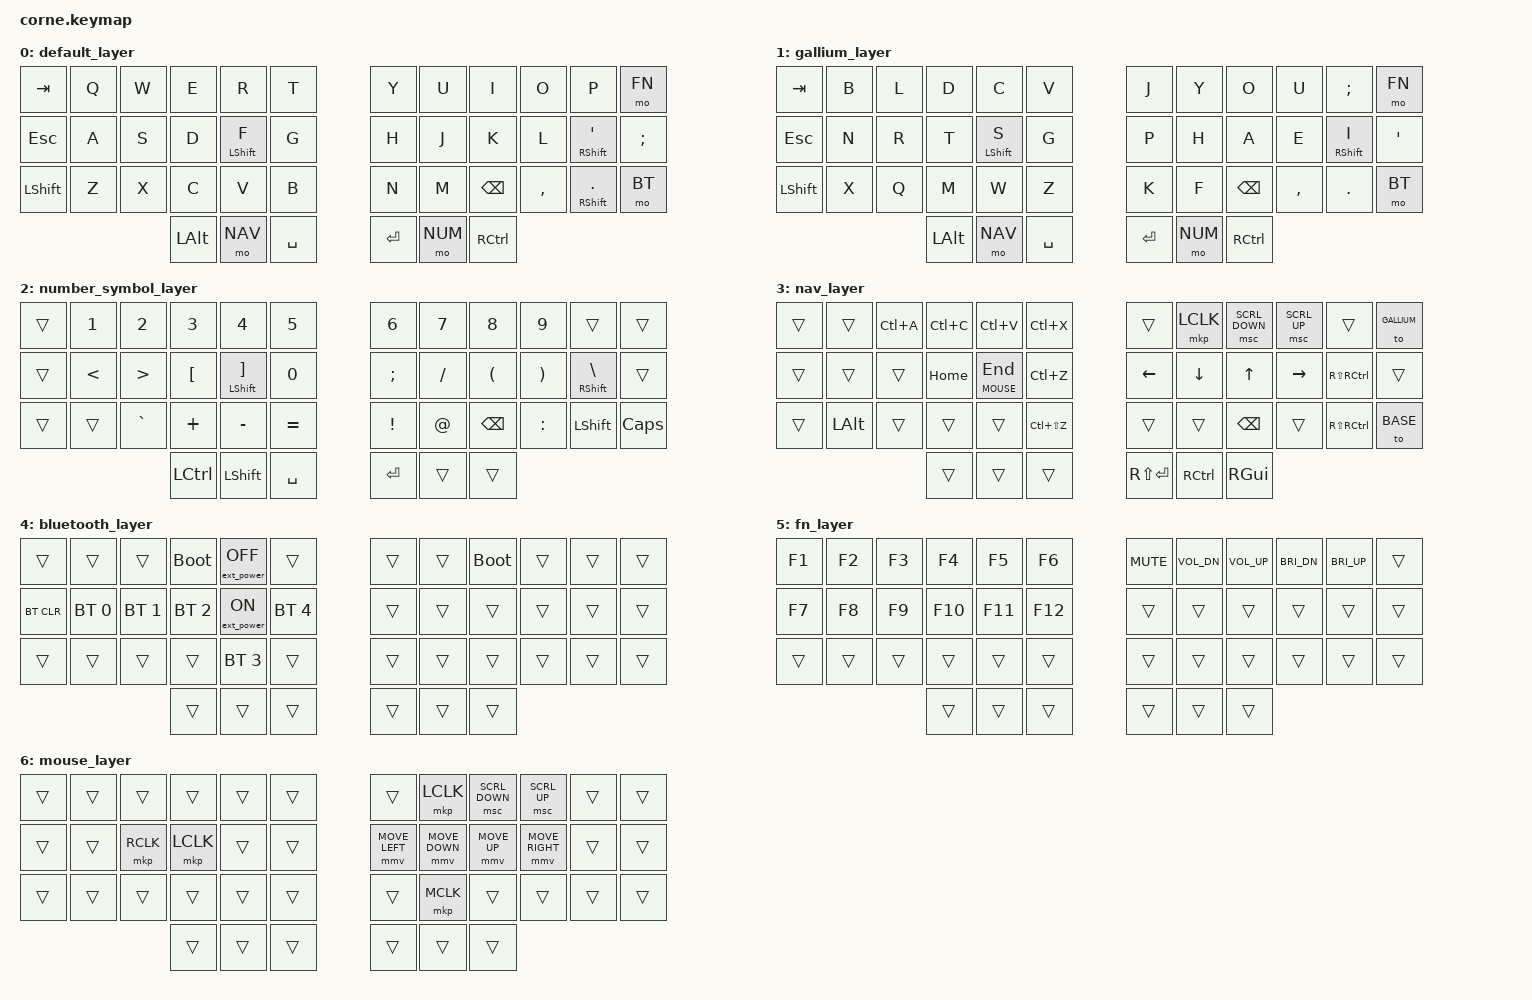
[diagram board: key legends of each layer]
/*
 * Copyright (c) 2020 The ZMK Contributors
 *
 * SPDX-License-Identifier: MIT
 */

#include <behaviors.dtsi>
#include <dt-bindings/zmk/keys.h>
#include <dt-bindings/zmk/bt.h>
#include <dt-bindings/zmk/mouse.h>
#include <dt-bindings/zmk/ext_power.h>

#define BASE 0
#define GALLIUM 1
#define NUM 2
#define NAV 3
#define BT 4
#define FN 5
#define MOUSE 6

/ {

        behaviors {
                hmt: homerow_mod_tap {
                        compatible = "zmk,behavior-hold-tap";
                        #binding-cells = <2>;
                        flavor = "tap-preferred";
                        tapping-term-ms = <200>;
                        quick-tap-ms = <150>;
                        bindings = <&kp>, <&kp>;
                };
                mlt: mouse_layer_tap {
                        compatible = "zmk,behavior-hold-tap";
                        #binding-cells = <2>;
                        flavor = "tap-preferred";
                        tapping-term-ms = <200>;
                        quick-tap-ms = <150>;
                        bindings = <&mo>, <&kp>;
                };
        };

        keymap {
                compatible = "zmk,keymap";

                default_layer {
                        bindings = <
   &kp TAB   &kp Q &kp W &kp E &kp R        &kp T   &kp Y &kp U  &kp I    &kp O     &kp P          &mo FN
   &kp ESC   &kp A &kp S &kp D &hmt LSHFT F &kp G   &kp H &kp J  &kp K    &kp L     &hmt RSHFT SQT &kp SEMI
   &kp LSHFT &kp Z &kp X &kp C &kp V        &kp B   &kp N &kp M  &kp BSPC &kp COMMA &hmt RSHFT DOT        &mo BT
                         &kp LALT &mo NAV &kp SPACE   &kp RET &mo NUM &kp RCTRL
                        >;
                };

                gallium_layer {
                        bindings = <
   &kp TAB   &kp B &kp L &kp D &kp C        &kp V   &kp J &kp Y &kp O    &kp U     &kp SEMI       &mo FN
   &kp ESC   &kp N &kp R &kp T &hmt LSHFT S &kp G   &kp P &kp H &kp A    &kp E     &hmt RSHFT I   &kp SQT
   &kp LSHFT &kp X &kp Q &kp M &kp W        &kp Z   &kp K &kp F &kp BSPC &kp COMMA &kp DOT        &mo BT
                         &kp LALT &mo NAV &kp SPACE   &kp RET &mo NUM &kp RCTRL
                        >;
                };

                number_symbol_layer {
                        bindings = <
   &trans &kp N1 &kp N2    &kp N3   &kp N4    &kp N5      &kp N6   &kp N7   &kp N8   &kp N9       &trans &trans
   &trans &kp LT &kp GT    &kp LBKT &hmt LSHFT RBKT  &kp N0      &kp SEMI &kp FSLH &kp LPAR &kp RPAR     &hmt RSHFT BSLH &trans
   &trans &trans &kp GRAVE &kp PLUS &kp MINUS &kp EQUAL   &kp EXCL &kp AT   &kp BSPC &kp COLON &kp LSHFT &kp CAPSLOCK
                              &kp LCTRL &kp LSHFT &kp SPACE   &kp RET &trans &trans
                        >;
                };


                nav_layer {
                        bindings = <
   &trans &trans &kp LC(A)  &kp LC(C) &kp LC(V) &kp LC(X)           &trans &mkp LCLK &msc SCRL_DOWN &msc SCRL_UP &trans &to GALLIUM
   &trans &trans &trans     &kp HOME  &mlt MOUSE END   &kp LC(Z)           &kp LEFT &kp DOWN &kp UP &kp RIGHT &kp RS(RCTRL) &trans
   &trans &kp LALT &trans     &trans    &trans    &kp LC(LS(Z))       &trans &trans &kp BSPC &trans &kp RS(RCTRL) &to BASE
                         &trans &trans &trans                 &kp RS(RET) &kp RCTRL &kp RGUI 
                        >;
                };


                bluetooth_layer {
                        bindings = <
   &trans     &trans       &trans       &bootloader     &ext_power EP_OFF     &trans       &trans &trans &bootloader &trans &trans &trans
   &bt BT_CLR &bt BT_SEL 0 &bt BT_SEL 1 &bt BT_SEL 2 &ext_power EP_ON &bt BT_SEL 4 &trans &trans &trans &trans &trans &trans
   &trans     &trans       &trans       &trans       &bt BT_SEL 3       &trans       &trans &trans &trans &trans &trans &trans
                                      &trans &trans &trans   &trans &trans &trans
                        >;
                };

                fn_layer {
                        bindings = <
   &kp F1    &kp F2    &kp F3    &kp F4    &kp F5    &kp F6      &kp C_MUTE &kp C_VOL_DN &kp C_VOL_UP &kp C_BRI_DN &kp C_BRI_UP &trans
   &kp F7    &kp F8    &kp F9    &kp F10   &kp F11   &kp F12     &trans     &trans       &trans       &trans       &trans       &trans
   &trans    &trans    &trans    &trans    &trans    &trans      &trans     &trans       &trans       &trans       &trans       &trans
                                  &trans    &trans    &trans      &trans     &trans       &trans
                        >;
                };

                mouse_layer {
                        bindings = <
   &trans &trans &trans &trans &trans &trans            &trans &mkp LCLK &msc SCRL_DOWN &msc SCRL_UP &trans &trans
   &trans &trans &mkp RCLK &mkp LCLK &trans &trans      &mmv MOVE_LEFT &mmv MOVE_DOWN &mmv MOVE_UP &mmv MOVE_RIGHT &trans &trans
   &trans &trans &trans &trans &trans &trans            &trans  &mkp MCLK &trans &trans &trans &trans
                         &trans &trans &trans           &trans &trans &trans
                        >;
                };
        };
};

&mmv {
    time-to-max-speed-ms = <150>;
    acceleration-exponent = <2>;
};
